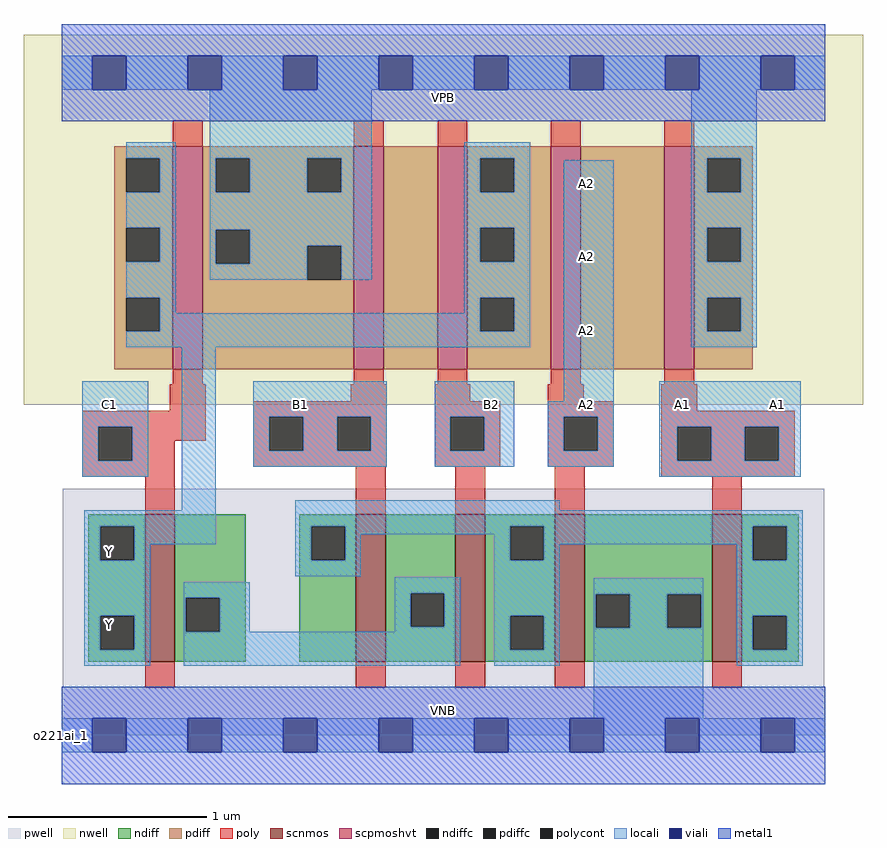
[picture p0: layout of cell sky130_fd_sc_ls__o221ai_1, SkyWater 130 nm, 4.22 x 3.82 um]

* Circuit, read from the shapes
.subckt sky130_fd_sc_ls__o221ai_1 A1 A2 B1 B2 C1 VGND VNB VPB VPWR Y
XM1 n1 C1 Y VNB sky130_fd_pr__nfet_01v8 w=0.74 l=0.15
XM2 n1 B1 n2 VNB sky130_fd_pr__nfet_01v8 w=0.74 l=0.15
XM3 n2 B2 n1 VNB sky130_fd_pr__nfet_01v8 w=0.74 l=0.15
XM4 VGND A2 n2 VNB sky130_fd_pr__nfet_01v8 w=0.74 l=0.15
XM5 n2 A1 VGND VNB sky130_fd_pr__nfet_01v8 w=0.74 l=0.15
XM6 VPWR C1 Y VPB sky130_fd_pr__pfet_01v8_hvt w=1.12 l=0.15
XM7 n3 B1 VPWR VPB sky130_fd_pr__pfet_01v8_hvt w=1.12 l=0.15
XM8 Y B2 n3 VPB sky130_fd_pr__pfet_01v8_hvt w=1.12 l=0.15
XM9 n4 A2 Y VPB sky130_fd_pr__pfet_01v8_hvt w=1.12 l=0.15
XM10 VPWR A1 n4 VPB sky130_fd_pr__pfet_01v8_hvt w=1.12 l=0.15
.ends

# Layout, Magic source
magic
tech sky130A
magscale 1 2
<< nwell >>
rect -38 332 806 704
<< pwell >>
rect 1 49 767 248
rect 0 0 768 49
<< scnmos >>
rect 84 74 114 222
rect 296 74 326 222
rect 396 74 426 222
rect 496 74 526 222
rect 654 74 684 222
<< scpmoshvt >>
rect 112 368 142 592
rect 294 368 324 592
rect 378 368 408 592
rect 492 368 522 592
rect 606 368 636 592
<< ndiff >>
rect 27 210 84 222
rect 27 176 39 210
rect 73 176 84 210
rect 27 120 84 176
rect 27 86 39 120
rect 73 86 84 120
rect 27 74 84 86
rect 114 138 185 222
rect 114 104 125 138
rect 159 104 185 138
rect 114 74 185 104
rect 239 210 296 222
rect 239 176 251 210
rect 285 176 296 210
rect 239 74 296 176
rect 326 143 396 222
rect 326 109 351 143
rect 385 109 396 143
rect 326 74 396 109
rect 426 210 496 222
rect 426 176 451 210
rect 485 176 496 210
rect 426 120 496 176
rect 426 86 451 120
rect 485 86 496 120
rect 426 74 496 86
rect 526 142 654 222
rect 526 108 537 142
rect 571 108 609 142
rect 643 108 654 142
rect 526 74 654 108
rect 684 210 741 222
rect 684 176 695 210
rect 729 176 741 210
rect 684 120 741 176
rect 684 86 695 120
rect 729 86 741 120
rect 684 74 741 86
<< pdiff >>
rect 53 580 112 592
rect 53 546 65 580
rect 99 546 112 580
rect 53 510 112 546
rect 53 476 65 510
rect 99 476 112 510
rect 53 440 112 476
rect 53 406 65 440
rect 99 406 112 440
rect 53 368 112 406
rect 142 580 294 592
rect 142 546 155 580
rect 189 546 247 580
rect 281 546 294 580
rect 142 508 294 546
rect 142 474 155 508
rect 189 492 294 508
rect 189 474 247 492
rect 142 458 247 474
rect 281 458 294 492
rect 142 368 294 458
rect 324 368 378 592
rect 408 580 492 592
rect 408 546 421 580
rect 455 546 492 580
rect 408 510 492 546
rect 408 476 421 510
rect 455 476 492 510
rect 408 440 492 476
rect 408 406 421 440
rect 455 406 492 440
rect 408 368 492 406
rect 522 368 606 592
rect 636 580 695 592
rect 636 546 649 580
rect 683 546 695 580
rect 636 510 695 546
rect 636 476 649 510
rect 683 476 695 510
rect 636 440 695 476
rect 636 406 649 440
rect 683 406 695 440
rect 636 368 695 406
<< ndiffc >>
rect 39 176 73 210
rect 39 86 73 120
rect 125 104 159 138
rect 251 176 285 210
rect 351 109 385 143
rect 451 176 485 210
rect 451 86 485 120
rect 537 108 571 142
rect 609 108 643 142
rect 695 176 729 210
rect 695 86 729 120
<< pdiffc >>
rect 65 546 99 580
rect 65 476 99 510
rect 65 406 99 440
rect 155 546 189 580
rect 247 546 281 580
rect 155 474 189 508
rect 247 458 281 492
rect 421 546 455 580
rect 421 476 455 510
rect 421 406 455 440
rect 649 546 683 580
rect 649 476 683 510
rect 649 406 683 440
<< poly >>
rect 112 592 142 618
rect 294 592 324 618
rect 378 592 408 618
rect 492 592 522 618
rect 606 592 636 618
rect 112 353 142 368
rect 294 353 324 368
rect 378 353 408 368
rect 492 353 522 368
rect 606 353 636 368
rect 109 326 145 353
rect 291 336 327 353
rect 21 310 145 326
rect 21 276 37 310
rect 71 296 145 310
rect 193 320 327 336
rect 71 276 114 296
rect 21 260 114 276
rect 193 286 209 320
rect 243 286 277 320
rect 311 286 327 320
rect 193 270 327 286
rect 375 336 411 353
rect 489 336 525 353
rect 375 320 441 336
rect 375 286 391 320
rect 425 286 441 320
rect 375 270 441 286
rect 489 320 555 336
rect 489 286 505 320
rect 539 286 555 320
rect 489 270 555 286
rect 603 326 639 353
rect 603 310 737 326
rect 603 276 619 310
rect 653 276 687 310
rect 721 276 737 310
rect 84 222 114 260
rect 296 222 326 270
rect 396 222 426 270
rect 496 222 526 270
rect 603 260 737 276
rect 654 222 684 260
rect 84 48 114 74
rect 296 48 326 74
rect 396 48 426 74
rect 496 48 526 74
rect 654 48 684 74
<< polycont >>
rect 37 276 71 310
rect 209 286 243 320
rect 277 286 311 320
rect 391 286 425 320
rect 505 286 539 320
rect 619 276 653 310
rect 687 276 721 310
<< locali >>
rect 0 649 31 683
rect 65 649 127 683
rect 161 649 223 683
rect 257 649 319 683
rect 353 649 415 683
rect 449 649 511 683
rect 545 649 607 683
rect 641 649 703 683
rect 737 649 768 683
rect 65 580 115 596
rect 99 546 115 580
rect 65 510 115 546
rect 99 476 115 510
rect 65 440 115 476
rect 149 580 312 649
rect 149 546 155 580
rect 189 546 247 580
rect 281 546 312 580
rect 149 508 312 546
rect 149 474 155 508
rect 189 492 312 508
rect 189 474 247 492
rect 149 458 247 474
rect 281 458 312 492
rect 405 580 471 596
rect 405 546 421 580
rect 455 546 471 580
rect 633 580 699 649
rect 405 510 471 546
rect 405 476 421 510
rect 455 476 471 510
rect 99 424 115 440
rect 405 440 471 476
rect 405 424 421 440
rect 99 406 421 424
rect 455 406 471 440
rect 65 390 471 406
rect 21 310 87 356
rect 21 276 37 310
rect 71 276 87 310
rect 21 260 87 276
rect 121 226 155 390
rect 193 320 327 356
rect 193 286 209 320
rect 243 286 277 320
rect 311 286 327 320
rect 193 270 327 286
rect 375 320 455 356
rect 505 336 555 578
rect 633 546 649 580
rect 683 546 699 580
rect 633 510 699 546
rect 633 476 649 510
rect 683 476 699 510
rect 633 440 699 476
rect 633 406 649 440
rect 683 406 699 440
rect 633 390 699 406
rect 375 286 391 320
rect 425 286 455 320
rect 375 270 455 286
rect 489 320 555 336
rect 489 286 505 320
rect 539 286 555 320
rect 489 270 555 286
rect 601 310 743 356
rect 601 276 619 310
rect 653 276 687 310
rect 721 276 743 310
rect 601 260 743 276
rect 23 210 155 226
rect 23 176 39 210
rect 73 192 155 210
rect 235 226 501 236
rect 235 210 745 226
rect 73 176 89 192
rect 23 120 89 176
rect 235 176 251 210
rect 285 202 451 210
rect 285 176 301 202
rect 235 160 301 176
rect 435 176 451 202
rect 485 192 695 210
rect 485 176 501 192
rect 23 86 39 120
rect 73 86 89 120
rect 23 70 89 86
rect 123 138 189 154
rect 123 104 125 138
rect 159 104 189 138
rect 335 143 401 159
rect 335 109 351 143
rect 385 109 401 143
rect 335 104 401 109
rect 123 70 401 104
rect 435 120 501 176
rect 679 176 695 192
rect 729 176 745 210
rect 435 86 451 120
rect 485 86 501 120
rect 435 70 501 86
rect 535 142 645 158
rect 535 108 537 142
rect 571 108 609 142
rect 643 108 645 142
rect 535 17 645 108
rect 679 120 745 176
rect 679 86 695 120
rect 729 86 745 120
rect 679 70 745 86
rect 0 -17 31 17
rect 65 -17 127 17
rect 161 -17 223 17
rect 257 -17 319 17
rect 353 -17 415 17
rect 449 -17 511 17
rect 545 -17 607 17
rect 641 -17 703 17
rect 737 -17 768 17
<< viali >>
rect 31 649 65 683
rect 127 649 161 683
rect 223 649 257 683
rect 319 649 353 683
rect 415 649 449 683
rect 511 649 545 683
rect 607 649 641 683
rect 703 649 737 683
rect 31 -17 65 17
rect 127 -17 161 17
rect 223 -17 257 17
rect 319 -17 353 17
rect 415 -17 449 17
rect 511 -17 545 17
rect 607 -17 641 17
rect 703 -17 737 17
<< metal1 >>
rect 0 683 768 715
rect 0 649 31 683
rect 65 649 127 683
rect 161 649 223 683
rect 257 649 319 683
rect 353 649 415 683
rect 449 649 511 683
rect 545 649 607 683
rect 641 649 703 683
rect 737 649 768 683
rect 0 617 768 649
rect 0 17 768 49
rect 0 -17 31 17
rect 65 -17 127 17
rect 161 -17 223 17
rect 257 -17 319 17
rect 353 -17 415 17
rect 449 -17 511 17
rect 545 -17 607 17
rect 641 -17 703 17
rect 737 -17 768 17
rect 0 -49 768 -17
<< labels >>
rlabel comment s 0 0 0 0 4 o221ai_1
flabel pwell s 0 0 768 49 0 FreeSans 200 0 0 0 VNB
port 7 nsew ground bidirectional
flabel nwell s 0 617 768 666 0 FreeSans 200 0 0 0 VPB
port 8 nsew power bidirectional
flabel metal1 s 0 617 768 666 0 FreeSans 340 0 0 0 VPWR
port 9 nsew power bidirectional abutment
flabel metal1 s 0 0 768 49 0 FreeSans 340 0 0 0 VGND
port 6 nsew ground bidirectional abutment
flabel locali s 31 94 65 128 0 FreeSans 340 0 0 0 Y
port 10 nsew signal output
flabel locali s 31 168 65 202 0 FreeSans 340 0 0 0 Y
port 10 nsew signal output
flabel locali s 223 316 257 350 0 FreeSans 340 0 0 0 B1
port 3 nsew signal input
flabel locali s 607 316 641 350 0 FreeSans 340 0 0 0 A1
port 1 nsew signal input
flabel locali s 703 316 737 350 0 FreeSans 340 0 0 0 A1
port 1 nsew signal input
flabel locali s 31 316 65 350 0 FreeSans 340 0 0 0 C1
port 5 nsew signal input
flabel locali s 415 316 449 350 0 FreeSans 340 0 0 0 B2
port 4 nsew signal input
flabel locali s 511 316 545 350 0 FreeSans 340 0 0 0 A2
port 2 nsew signal input
flabel locali s 511 390 545 424 0 FreeSans 340 0 0 0 A2
port 2 nsew signal input
flabel locali s 511 464 545 498 0 FreeSans 340 0 0 0 A2
port 2 nsew signal input
flabel locali s 511 538 545 572 0 FreeSans 340 0 0 0 A2
port 2 nsew signal input
<< properties >>
string LEFsite unit
string LEFclass CORE
string FIXED_BBOX 0 0 768 666
string GDS_FILE $PDKPATH/libs.ref/sky130_fd_sc_ls/gds/sky130_fd_sc_ls.gds
string LEFsymmetry X Y
string GDS_END 3743918
string GDS_START 3736454
<< end >>
